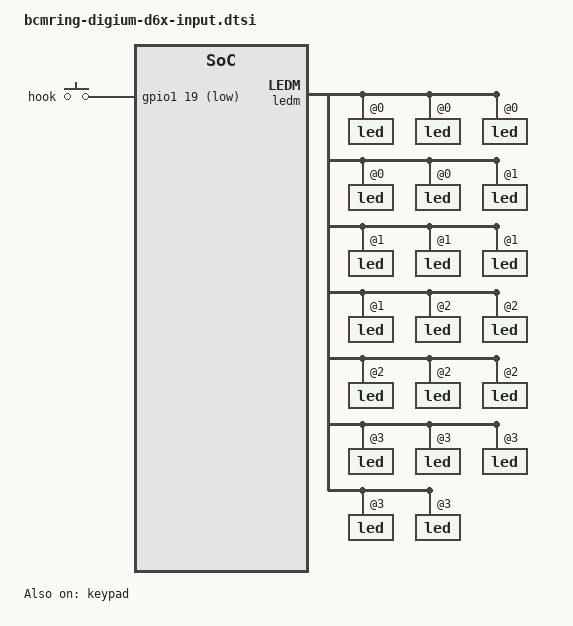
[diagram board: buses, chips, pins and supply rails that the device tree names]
// SPDX-License-Identifier: (GPL-2.0-only OR BSD-2-Clause)
/*
 * Digium/Sangoma D60, D62, and D65: keypad, hookswitch, and lamps.  FIRST DRAFT,
 * untested.
 *
 * Generated from the D60 vendor kernel (Linux 3.4.74):
 * BCMRING_CUSTOM_keypad_keymap (39 entries), the LED label table, and
 * the ledm/keypad platform data.
 * The three vendor kernels carry identical tables, so all twenty vendor
 * lamp names are described here.  A D60 has only nine of the lamps (no
 * line2..line5, no mute-green, headset-red, or speaker-red); its board file
 * deletes the rest.  Which lamps a D62 or a D65 has is untested.
 *
 * Key codes: digium-keys.h keeps the vendor ASCII codes unless
 * DIGIUM_KEYS_PROPOSED is defined before this file is included.  The DGK_
 * names are the functions found by pressing the keys on a D60, a D40, and
 * a D50, and, for the keys those phones lack (BLF_LEFT, BLF_RIGHT, LINE5,
 * and LINE6), read from the vendor phone application; those positions have
 * not been pressed on a unit, and a D60 has no key there.
 */

#include <dt-bindings/leds/common.h>
#include "digium-keys.h"

&pinmux {
	/* Keypad: columns on GPIO 43, 44, 45, 46, 47, 48, rows on GPIO 52, 53, 54, 55, 56, 57, 58, function 1. */
	keypad_pins: keypad-pins {
		pinctrl-single,bits =
			<0x14 0x11111000 0xfffff000>,
			<0x18 0x11110001 0xffff000f>,
			<0x1c 0x00000111 0x00000fff>;
	};

	/* LED matrix: columns on GPIO 0..4, rows on GPIO 16..19, function 5. */
	ledm_pins: ledm-pins {
		pinctrl-single,bits =
			<0x00 0x00055555 0x000fffff>,
			<0x08 0x00005555 0x0000ffff>;
	};
};

&keypad {
	pinctrl-names = "default";
	pinctrl-0 = <&keypad_pins>;
	keypad,num-rows = <7>;
	keypad,num-columns = <6>;
	status = "okay";

	/* MATRIX_KEY(row, column, code); vendor scan code = (row << 4) | column. */
	linux,keymap = <
		MATRIX_KEY(0, 0, DGK_MUTE)	/* scan 0x00, vendor 'm' (109) */
		MATRIX_KEY(0, 1, DGK_SPEAKER)	/* scan 0x01, vendor 'f' (102) */
		MATRIX_KEY(0, 2, DGK_HEADSET)	/* scan 0x02, vendor 'g' (103) */
		MATRIX_KEY(0, 3, DGK_VOLUP)	/* scan 0x03, vendor '>' (62) */
		MATRIX_KEY(0, 4, DGK_VOLDOWN)	/* scan 0x04, vendor '<' (60) */
		MATRIX_KEY(1, 0, DGK_TRANSFER)	/* scan 0x10, vendor 't' (116) */
		MATRIX_KEY(1, 1, DGK_SOFT1)	/* scan 0x11, vendor '(' (40) */
		MATRIX_KEY(1, 2, DGK_POUND)	/* scan 0x12, vendor '#' (35) */
		MATRIX_KEY(1, 3, DGK_0)	/* scan 0x13, vendor '0' (48) */
		MATRIX_KEY(1, 4, DGK_STAR)	/* scan 0x14, vendor '*' (42) */
		MATRIX_KEY(2, 0, DGK_MSGS)	/* scan 0x20, vendor 'a' (97) */
		MATRIX_KEY(2, 1, DGK_SOFT2)	/* scan 0x21, vendor 'c' (99) */
		MATRIX_KEY(2, 2, DGK_9)	/* scan 0x22, vendor '9' (57) */
		MATRIX_KEY(2, 3, DGK_8)	/* scan 0x23, vendor '8' (56) */
		MATRIX_KEY(2, 4, DGK_7)	/* scan 0x24, vendor '7' (55) */
		MATRIX_KEY(3, 0, DGK_HOLD)	/* scan 0x30, vendor 'h' (104) */
		MATRIX_KEY(3, 1, DGK_SOFT3)	/* scan 0x31, vendor 'e' (101) */
		MATRIX_KEY(3, 2, DGK_6)	/* scan 0x32, vendor '6' (54) */
		MATRIX_KEY(3, 3, DGK_5)	/* scan 0x33, vendor '5' (53) */
		MATRIX_KEY(3, 4, DGK_4)	/* scan 0x34, vendor '4' (52) */
		MATRIX_KEY(3, 5, DGK_LINE4)	/* scan 0x35, vendor 'k' (107) */
		MATRIX_KEY(4, 0, DGK_REDIAL)	/* scan 0x40, vendor 'd' (100) */
		MATRIX_KEY(4, 1, DGK_SOFT4)	/* scan 0x41, vendor ')' (41) */
		MATRIX_KEY(4, 2, DGK_3)	/* scan 0x42, vendor '3' (51) */
		MATRIX_KEY(4, 3, DGK_2)	/* scan 0x43, vendor '2' (50) */
		MATRIX_KEY(4, 4, DGK_1)	/* scan 0x44, vendor '1' (49) */
		MATRIX_KEY(4, 5, DGK_LINE5)	/* scan 0x45, vendor 'O' (79) */
		MATRIX_KEY(5, 0, DGK_UP)	/* scan 0x50, vendor 'U' (85) */
		MATRIX_KEY(5, 1, DGK_DOWN)	/* scan 0x51, vendor 'D' (68) */
		MATRIX_KEY(5, 2, DGK_LEFT)	/* scan 0x52, vendor 'L' (76) */
		MATRIX_KEY(5, 3, DGK_RIGHT)	/* scan 0x53, vendor 'R' (82) */
		MATRIX_KEY(5, 4, DGK_BLF_LEFT)	/* scan 0x54, vendor 'M' (77) */
		MATRIX_KEY(5, 5, DGK_LINE3)	/* scan 0x55, vendor 'u' (117) */
		MATRIX_KEY(6, 0, DGK_CANCEL)	/* scan 0x60, vendor 'b' (98) */
		MATRIX_KEY(6, 1, DGK_SELECT)	/* scan 0x61, vendor 'C' (67) */
		MATRIX_KEY(6, 2, DGK_LINE2)	/* scan 0x62, vendor 'i' (105) */
		MATRIX_KEY(6, 3, DGK_LINE1)	/* scan 0x63, vendor 'j' (106) */
		MATRIX_KEY(6, 4, DGK_BLF_RIGHT)	/* scan 0x64, vendor 'N' (78) */
		MATRIX_KEY(6, 5, DGK_LINE6)	/* scan 0x65, vendor 'P' (80) */
	>;
};

/ {
	hook-switch {
		compatible = "gpio-keys";

		key-hook {
			label = "hook";
			/*
			 * GPIO 51: bank 1, line 19.  Vendor reports !level.
			 * Pressed (low) = handset on the cradle; lifting it
			 * releases the key (key presses on a D60 and a D40).
			 */
			gpios = <&gpio1 19 GPIO_ACTIVE_LOW>;
			linux,code = <DGK_HOOK>;
			/* Vendor: 2 jiffies at HZ=100. */
			debounce-interval = <20>;
		};
	};
};

&ledm {
	pinctrl-names = "default";
	pinctrl-0 = <&ledm_pins>;
	/* The vendor driver always programs a 5 x 8 scan in parallel mode. */
	brcm,scan-rows = <5>;
	brcm,scan-columns = <8>;
	brcm,clk-div = <2>;
	brcm,res-div = <100>;
	brcm,on-time = <256>;
	brcm,guard-time = <100>;
	status = "okay";


	led@0,0 {
		/* vendor "mute-green", table index 0 */
		reg = <0 0>;
		color = <LED_COLOR_ID_GREEN>;
		function = LED_FUNCTION_MUTE;
	};

	led@0,1 {
		/* vendor "mute-red", table index 1 */
		reg = <0 1>;
		color = <LED_COLOR_ID_RED>;
		function = LED_FUNCTION_MUTE;
	};

	led@0,2 {
		/* vendor "msg-green", table index 2 */
		reg = <0 2>;
		color = <LED_COLOR_ID_GREEN>;
		function = LED_FUNCTION_MAIL;
	};

	led@0,3 {
		/* vendor "msg-red", table index 3 */
		reg = <0 3>;
		color = <LED_COLOR_ID_RED>;
		function = LED_FUNCTION_MAIL;
	};

	led@0,4 {
		/* vendor "line2-green", table index 4 */
		reg = <0 4>;
		color = <LED_COLOR_ID_GREEN>;
		function = "line";
		function-enumerator = <2>;
	};

	led@1,0 {
		/* vendor "headset-red", table index 5 */
		reg = <1 0>;
		color = <LED_COLOR_ID_RED>;
		function = "headset";
	};

	led@1,1 {
		/* vendor "headset-green", table index 6 */
		reg = <1 1>;
		color = <LED_COLOR_ID_GREEN>;
		function = "headset";
	};

	led@1,2 {
		/* vendor "speaker-red", table index 7 */
		reg = <1 2>;
		color = <LED_COLOR_ID_RED>;
		function = "speaker";
	};

	led@1,3 {
		/* vendor "speaker-green", table index 8 */
		reg = <1 3>;
		color = <LED_COLOR_ID_GREEN>;
		function = "speaker";
	};

	led@1,4 {
		/* vendor "line2-red", table index 9 */
		reg = <1 4>;
		color = <LED_COLOR_ID_RED>;
		function = "line";
		function-enumerator = <2>;
	};

	led@2,0 {
		/* vendor "line0-green", table index 10 */
		reg = <2 0>;
		color = <LED_COLOR_ID_GREEN>;
		function = "line";
		function-enumerator = <0>;
	};

	led@2,1 {
		/* vendor "line0-red", table index 11 */
		reg = <2 1>;
		color = <LED_COLOR_ID_RED>;
		function = "line";
		function-enumerator = <0>;
	};

	led@2,2 {
		/* vendor "line1-green", table index 12 */
		reg = <2 2>;
		color = <LED_COLOR_ID_GREEN>;
		function = "line";
		function-enumerator = <1>;
	};

	led@2,3 {
		/* vendor "line1-red", table index 13 */
		reg = <2 3>;
		color = <LED_COLOR_ID_RED>;
		function = "line";
		function-enumerator = <1>;
	};

	led@2,4 {
		/* vendor "line3-green", table index 14 */
		reg = <2 4>;
		color = <LED_COLOR_ID_GREEN>;
		function = "line";
		function-enumerator = <3>;
	};

	led@3,0 {
		/* vendor "line3-red", table index 15 */
		reg = <3 0>;
		color = <LED_COLOR_ID_RED>;
		function = "line";
		function-enumerator = <3>;
	};

	led@3,1 {
		/* vendor "line4-green", table index 16 */
		reg = <3 1>;
		color = <LED_COLOR_ID_GREEN>;
		function = "line";
		function-enumerator = <4>;
	};

	led@3,2 {
		/* vendor "line4-red", table index 17 */
		reg = <3 2>;
		color = <LED_COLOR_ID_RED>;
		function = "line";
		function-enumerator = <4>;
	};

	led@3,3 {
		/* vendor "line5-green", table index 18 */
		reg = <3 3>;
		color = <LED_COLOR_ID_GREEN>;
		function = "line";
		function-enumerator = <5>;
	};

	led@3,4 {
		/* vendor "line5-red", table index 19 */
		reg = <3 4>;
		color = <LED_COLOR_ID_RED>;
		function = "line";
		function-enumerator = <5>;
	};
};
